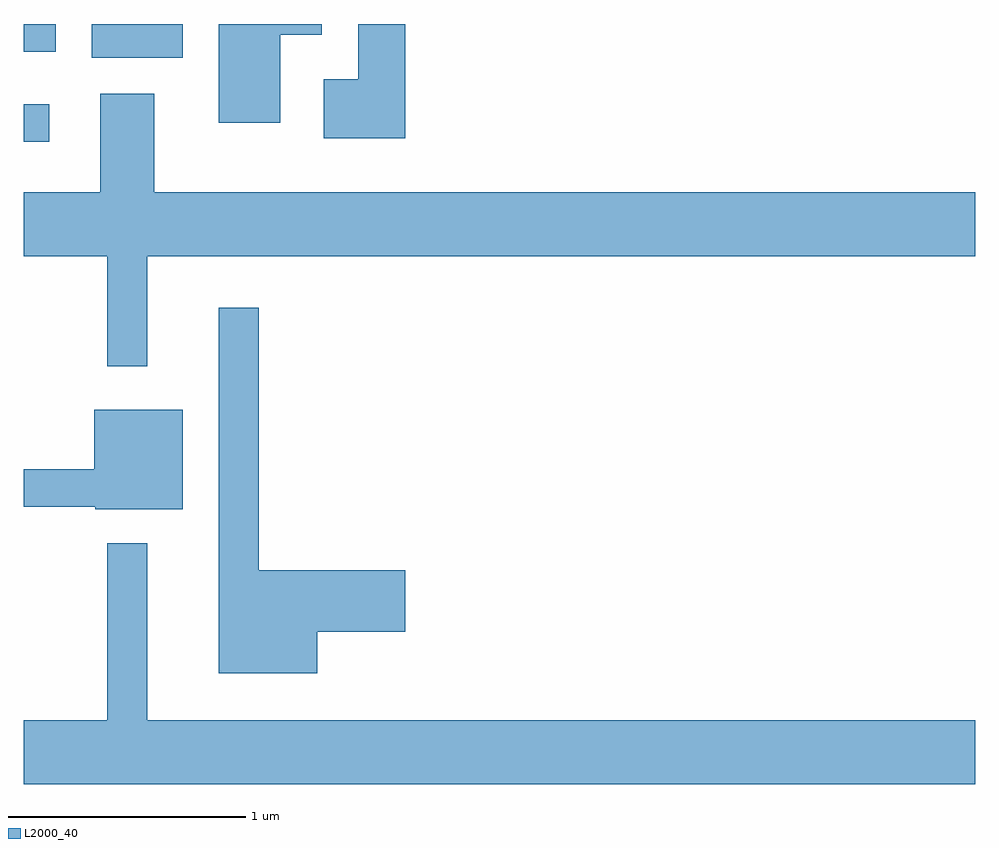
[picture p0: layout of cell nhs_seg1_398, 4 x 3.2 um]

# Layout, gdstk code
import gdstk
lib = gdstk.Library(unit=1e-6, precision=1e-09)
def R(c, l, rs):  # rectangles x0, y0, x1, y1
    for r in rs: c.add(gdstk.rectangle(r[:2], r[2:], *l))
def P(c, l, *ps):  # polygons
    for p in ps: c.add(gdstk.Polygon(p, *l))
L2000_40 = (2000, 40)

nhs_seg1_398 = lib.new_cell('nhs_seg1_398')
R(nhs_seg1_398, L2000_40, [(197.611,851.216,197.718,851.374), (197.896,851.571,198.279,851.712), (197.611,851.596,197.744,851.712)])
P(nhs_seg1_398, L2000_40, [(198.689,851.666),(198.864,851.666),(198.864,851.712),(198.431,851.712),(198.431,851.296),(198.689,851.296)],
  [(199.214,851.712),(199.016,851.712),(199.016,851.479),(198.871,851.479),(198.871,851.231),(199.214,851.231)],
  [(198.129,850.736),(201.611,850.736),(201.611,851.004),(198.159,851.004),(198.159,851.419),(197.931,851.419),(197.931,851.004),(197.611,851.004),(197.611,850.736),(197.961,850.736),(197.961,850.273),(198.129,850.273)],
  [(198.844,849.156),(199.214,849.156),(199.214,849.414),(198.599,849.414),(198.599,850.518),(198.431,850.518),(198.431,848.981),(198.844,848.981)],
  [(198.279,850.089),(197.906,850.089),(197.906,849.839),(197.611,849.839),(197.611,849.681),(197.91,849.681),(197.91,849.671),(198.279,849.671)],
  [(201.611,848.784),(198.129,848.784),(198.129,849.528),(197.961,849.528),(197.961,848.784),(197.611,848.784),(197.611,848.516),(201.611,848.516)])

lib.write_gds('nhs_seg1_398.gds')
